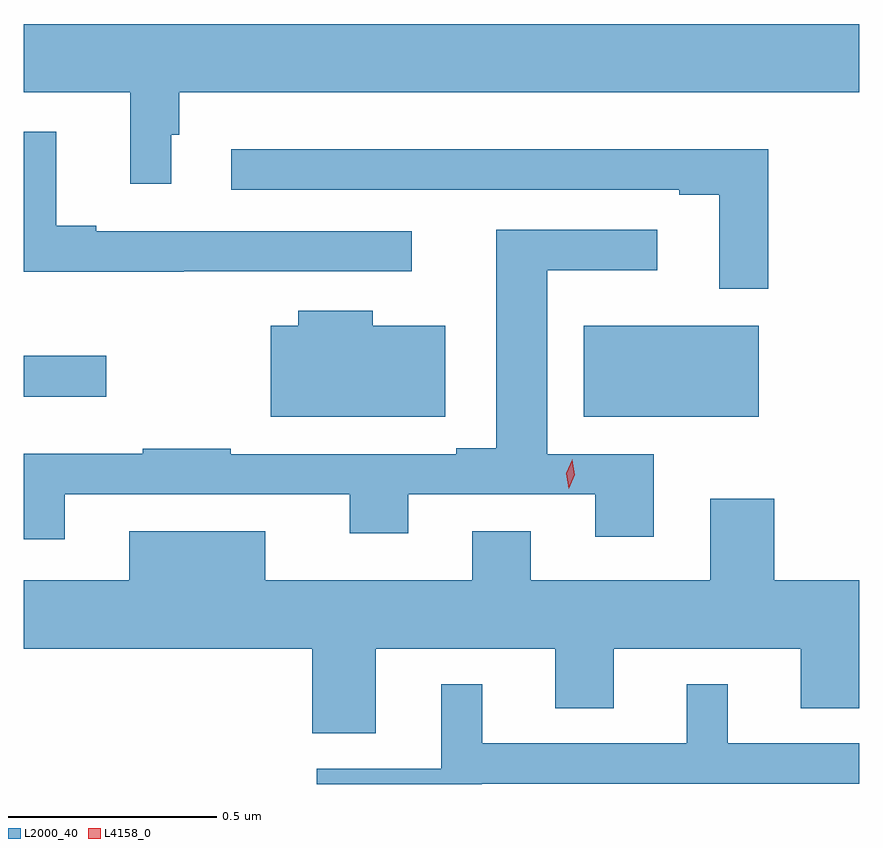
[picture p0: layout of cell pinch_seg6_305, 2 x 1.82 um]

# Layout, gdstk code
import gdstk
lib = gdstk.Library(unit=1e-6, precision=1e-09)
def R(c, l, rs):  # rectangles x0, y0, x1, y1
    for r in rs: c.add(gdstk.rectangle(r[:2], r[2:], *l))
def P(c, l, *ps):  # polygons
    for p in ps: c.add(gdstk.Polygon(p, *l))
L2000_40 = (2000, 40)
L4158_0 = (4158, 0)

pinch_seg6_305 = lib.new_cell('pinch_seg6_305')
R(pinch_seg6_305, L2000_40, [(773.852,977.195,774.271,977.413), (772.511,977.243,772.708,977.342)])
P(pinch_seg6_305, L2000_40, [(772.864,977.871),(772.883,977.871),(772.883,977.972),(774.511,977.972),(774.511,978.136),(772.511,978.136),(772.511,977.972),(772.766,977.972),(772.766,977.754),(772.864,977.754)],
  [(772.894,977.544),(773.44,977.544),(773.44,977.64),(772.684,977.64),(772.684,977.653),(772.589,977.653),(772.589,977.878),(772.511,977.878),(772.511,977.543),(772.894,977.543)],
  [(774.293,977.836),(773.007,977.836),(773.007,977.739),(774.08,977.739),(774.08,977.727),(774.176,977.727),(774.176,977.502),(774.293,977.502)],
  [(772.609,977.01),(773.291,977.01),(773.291,976.916),(773.431,976.916),(773.431,977.01),(773.879,977.01),(773.879,976.908),(774.019,976.908),(774.019,977.106),(773.764,977.106),(773.764,977.546),(774.028,977.546),(774.028,977.643),(773.642,977.643),(773.642,977.12),(773.546,977.12),(773.546,977.106),(773.006,977.106),(773.006,977.119),(772.795,977.119),(772.795,977.107),(772.511,977.107),(772.511,976.902),(772.609,976.902)],
  [(773.417,977.196),(773.52,977.196),(773.52,977.413),(773.346,977.413),(773.346,977.449),(773.168,977.449),(773.168,977.413),(773.102,977.413),(773.102,977.195),(773.417,977.195)],
  [(773.353,976.64),(773.783,976.64),(773.783,976.498),(773.923,976.498),(773.923,976.64),(774.371,976.64),(774.371,976.498),(774.511,976.498),(774.511,976.804),(774.308,976.804),(774.308,976.999),(774.155,976.999),(774.155,976.804),(773.725,976.804),(773.725,976.921),(773.585,976.921),(773.585,976.804),(773.089,976.804),(773.089,976.921),(772.763,976.921),(772.763,976.804),(772.511,976.804),(772.511,976.64),(773.201,976.64),(773.201,976.438),(773.353,976.438)],
  [(773.607,976.317),(774.511,976.317),(774.511,976.413),(774.196,976.413),(774.196,976.555),(774.098,976.555),(774.098,976.413),(773.608,976.413),(773.608,976.555),(773.51,976.555),(773.51,976.353),(773.212,976.353),(773.212,976.316),(773.607,976.316)])
P(pinch_seg6_305, L4158_0, [(773.816,977.023),(773.816,977.023),(773.81,977.06),(773.824,977.093),(773.824,977.094),(773.824,977.093),(773.83,977.057),(773.816,977.023)])

lib.write_gds('pinch_seg6_305.gds')
